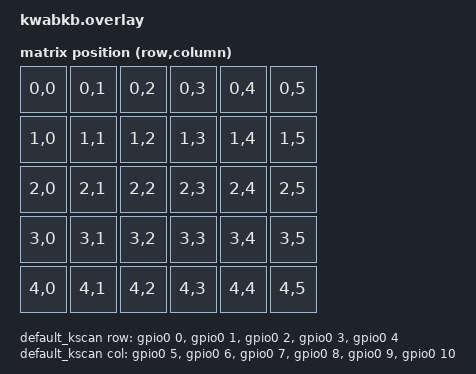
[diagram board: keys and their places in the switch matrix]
#include <dt-bindings/zmk/matrix_transform.h>

/ {
    chosen {
        zmk,kscan = &default_kscan;
        zmk,matrix_transform = &default_transform;
		zmk,physical-layout = &physical_layout0;
    };

    // Define your physical layout. The name 'physical_layout0' should match
    // what's used in the 'chosen' node above.
    physical_layout0: physical_layout {
        compatible = "zmk,physical-layout";
        // The 'keys' property defines the physical positions of your keys.
        // The number of entries here must match the total number of keys
        // on your 'kwabkb' shield.
        //
        // Each entry represents a key and its X/Y coordinates in millimeters.
        // You'll need to accurately fill this out based on your specific shield.
        //
        // Example for a 6-key macropad (adjust for your 'kwabkb' layout):
        keys = <
            // Row 1
            0.00 0.00,   // ~`
            19.05 0.00,  // !1
            38.10 0.00,  // @2
            57.15 0.00,  // #3
            76.20 0.00,  // $4
            95.25 0.00,  // %5

            // Ряд 2 (Y: 19.05 мм)
            0.00 19.05,  // Tab (1.25U)
            23.81 19.05, // Q
            42.86 19.05, // W
            61.91 19.05, // E
            80.96 19.05, // R
            100.01 19.05, // T

            // Ряд 3 (Y: 38.10 мм)
            0.00 38.10,  // Caps Lock (1.5U)
            28.58 38.10, // A
            47.63 38.10, // S
            66.68 38.10, // D
            85.73 38.10, // F
            104.78 38.10, // G

            // Ряд 4 (Y: 57.15 мм)
            0.00 57.15,  // Shift (1.75U)
            33.34 57.15, // Z
            52.39 57.15, // X
            71.44 57.15, // C
            90.49 57.15, // V
            109.54 57.15, // B

            // Ряд 5 (Y: 76.20 мм)
            0.00 76.20,  // Ctrl (1.25U)
            23.81 76.20, // Win (1U)
            42.86 76.20, // Fn (1U)
            61.91 76.20, // Alt (1.25U)
            85.72 76.20,  // Remaining empty key / &studio_unlock (1.75U)
			114.30 0.00 // ^6
        >;
    };

    default_kscan: kscan {
        compatible = "zmk,kscan-gpio-matrix";
        label = "default_kscan";
        diode-direction = "col2row";

        row-gpios = <&gpio0 0 (GPIO_ACTIVE_HIGH | GPIO_PULL_DOWN)>,
                    <&gpio0 1 (GPIO_ACTIVE_HIGH | GPIO_PULL_DOWN)>,
					<&gpio0 2 (GPIO_ACTIVE_HIGH | GPIO_PULL_DOWN)>,
					<&gpio0 3 (GPIO_ACTIVE_HIGH | GPIO_PULL_DOWN)>,
                    <&gpio0 4 (GPIO_ACTIVE_HIGH | GPIO_PULL_DOWN)>;
        col-gpios = <&gpio0 5 GPIO_ACTIVE_HIGH>,
                    <&gpio0 6 GPIO_ACTIVE_HIGH>,
					<&gpio0 7 GPIO_ACTIVE_HIGH>,
					<&gpio0 8 GPIO_ACTIVE_HIGH>,
					<&gpio0 9 GPIO_ACTIVE_HIGH>,
                    <&gpio0 10 GPIO_ACTIVE_HIGH>;
    };

    default_transform: matrix_transform {
        compatible = "zmk,matrix-transform";
        rows = <5>;
        columns = <6>;

        map = <
			RC(0,0) RC(0,1) RC(0,2) RC(0,3) RC(0,4) RC(0,5)
			RC(1,0) RC(1,1) RC(1,2) RC(1,3) RC(1,4) RC(1,5)
			RC(2,0) RC(2,1) RC(2,2) RC(2,3) RC(2,4) RC(2,5)
			RC(3,0) RC(3,1) RC(3,2) RC(3,3) RC(3,4) RC(3,5)
			RC(4,0) RC(4,1) RC(4,2) RC(4,3) RC(4,4) RC(4,5)
		>;
	};
};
